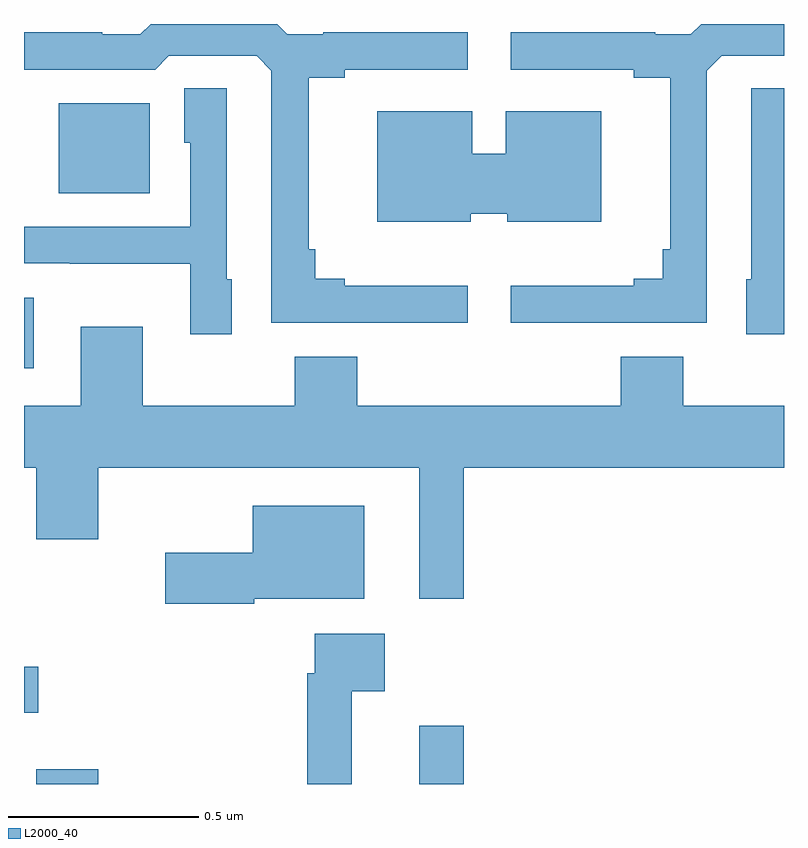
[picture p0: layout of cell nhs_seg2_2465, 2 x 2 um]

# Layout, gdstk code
import gdstk
lib = gdstk.Library(unit=1e-6, precision=1e-09)
def R(c, l, rs):  # rectangles x0, y0, x1, y1
    for r in rs: c.add(gdstk.rectangle(r[:2], r[2:], *l))
def P(c, l, *ps):  # polygons
    for p in ps: c.add(gdstk.Polygon(p, *l))
L2000_40 = (2000, 40)

nhs_seg2_2465 = lib.new_cell('nhs_seg2_2465')
R(nhs_seg2_2465, L2000_40, [(141.032,650.8,141.196,650.839), (142.04,650.8,142.157,650.953), (141,650.987,141.037,651.109), (141,651.894,141.025,652.08), (141.092,652.355,141.331,652.591)])
P(nhs_seg2_2465, L2000_40, [(142.797,652.677),(142.836,652.716),(143,652.716),(143,652.8),(142.782,652.8),(142.755,652.773),(142.661,652.773),(142.661,652.778),(142.281,652.778),(142.281,652.68),(142.604,652.68),(142.604,652.658),(142.7,652.658),(142.7,652.207),(142.681,652.207),(142.681,652.13),(142.604,652.13),(142.604,652.111),(142.281,652.111),(142.281,652.014),(142.797,652.014)],
  [(142.168,652.111),(141.844,652.111),(141.844,652.13),(141.767,652.13),(141.767,652.207),(141.749,652.207),(141.749,652.658),(141.844,652.658),(141.844,652.68),(142.168,652.68),(142.168,652.778),(141.787,652.778),(141.787,652.773),(141.693,652.773),(141.666,652.8),(141.333,652.8),(141.306,652.773),(141.206,652.773),(141.206,652.778),(141,652.778),(141,652.68),(141.345,652.68),(141.381,652.716),(141.612,652.716),(141.651,652.677),(141.651,652.014),(142.168,652.014)],
  [(141.547,652.128),(141.534,652.128),(141.534,652.631),(141.422,652.631),(141.422,652.488),(141.438,652.488),(141.438,652.266),(141,652.266),(141,652.17),(141.121,652.17),(141.121,652.169),(141.438,652.169),(141.438,651.984),(141.547,651.984)],
  [(143,652.631),(142.914,652.631),(142.914,652.128),(142.901,652.128),(142.901,651.984),(143,651.984)],
  [(142.176,652.301),(142.272,652.301),(142.272,652.28),(142.519,652.28),(142.519,652.57),(142.268,652.57),(142.268,652.459),(142.18,652.459),(142.18,652.57),(141.929,652.57),(141.929,652.28),(142.176,652.28)],
  [(142.157,651.632),(143,651.632),(143,651.796),(142.735,651.796),(142.735,651.925),(142.571,651.925),(142.571,651.796),(141.877,651.796),(141.877,651.925),(141.713,651.925),(141.713,651.796),(141.313,651.796),(141.313,652.003),(141.149,652.003),(141.149,651.796),(141,651.796),(141,651.632),(141.032,651.632),(141.032,651.444),(141.196,651.444),(141.196,651.632),(142.04,651.632),(142.04,651.288),(142.157,651.288)],
  [(141.606,651.287),(141.895,651.287),(141.895,651.532),(141.602,651.532),(141.602,651.409),(141.372,651.409),(141.372,651.275),(141.606,651.275)],
  [(141.863,651.044),(141.949,651.044),(141.949,651.196),(141.765,651.196),(141.765,651.092),(141.745,651.092),(141.745,650.8),(141.863,650.8)])

lib.write_gds('nhs_seg2_2465.gds')
